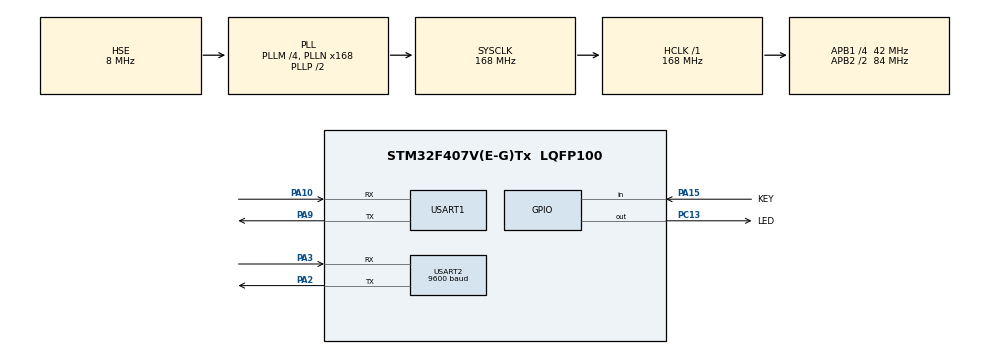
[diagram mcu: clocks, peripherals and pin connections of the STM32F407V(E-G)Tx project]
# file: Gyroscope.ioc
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Mcu.Family=STM32F4
Mcu.Name=STM32F407V(E-G)Tx
Mcu.Package=LQFP100
NVIC.PriorityGroup=NVIC_PRIORITYGROUP_4
NVIC.USART2_IRQn=true\:0\:0\:false\:false\:true\:true\:true
PA10.Mode=Asynchronous
PA10.Signal=USART1_RX
PA13.Mode=Serial_Wire
PA13.Signal=SYS_JTMS-SWDIO
PA14.Mode=Serial_Wire
PA14.Signal=SYS_JTCK-SWCLK
PA15.GPIO_Label=KEY
PA15.Signal=GPIO_Input
PA2.Mode=Asynchronous
PA2.Signal=USART2_TX
PA3.Mode=Asynchronous
PA3.Signal=USART2_RX
PA9.Mode=Asynchronous
PA9.Signal=USART1_TX
PC13-ANTI_TAMP.GPIO_Label=LED
PC13-ANTI_TAMP.Signal=GPIO_Output
PH0-OSC_IN.Mode=HSE-External-Oscillator
PH0-OSC_IN.Signal=RCC_OSC_IN
PH1-OSC_OUT.Mode=HSE-External-Oscillator
PH1-OSC_OUT.Signal=RCC_OSC_OUT
ProjectManager.HeapSize=0x200
ProjectManager.StackSize=0x400
ProjectManager.TargetToolchain=MDK-ARM V5.27
RCC.48MHZClocksFreq_Value=84000000
RCC.AHBFreq_Value=168000000
RCC.APB1CLKDivider=RCC_HCLK_DIV4
RCC.APB1Freq_Value=42000000
RCC.APB1TimFreq_Value=84000000
RCC.APB2CLKDivider=RCC_HCLK_DIV2
RCC.APB2Freq_Value=84000000
RCC.APB2TimFreq_Value=168000000
RCC.CortexFreq_Value=168000000
RCC.HCLKFreq_Value=168000000
RCC.HSE_VALUE=8000000
RCC.HSI_VALUE=16000000
RCC.LSE_VALUE=32768
RCC.PLLM=4
RCC.PLLN=168
RCC.PLLSourceVirtual=RCC_PLLSOURCE_HSE
RCC.SYSCLKFreq_VALUE=168000000
RCC.SYSCLKSource=RCC_SYSCLKSOURCE_PLLCLK
RCC.VCOOutputFreq_Value=336000000
USART1.VirtualMode=VM_ASYNC
USART2.BaudRate=9600
USART2.VirtualMode=VM_ASYNC
board=custom

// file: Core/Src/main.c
/* USER CODE BEGIN Header */
/**
  ******************************************************************************
  * @file           : main.c
  * @brief          : Main program body
  ******************************************************************************
  * @attention
  *
  * <h2><center>&copy; Copyright (c) 2020 STMicroelectronics.
  * All rights reserved.</center></h2>
  *
  * This software component is licensed by ST under BSD 3-Clause license,
  * the "License"; You may not use this file except in compliance with the
  * License. You may obtain a copy of the License at:
  *                        opensource.org/licenses/BSD-3-Clause
  *
  ******************************************************************************
  */
/* USER CODE END Header */
#include "main.h"
#include "usart.h"
#include "gpio.h"

/* USER CODE BEGIN Includes */
#include "led.h"
#include "printf.h"
#include "JY901.h"
/* USER CODE END Includes */

/* USER CODE BEGIN PV */

char ACCCALSW[5] = {0XFF,0XAA,0X01,0X01,0X00};//进入加速度校准模式
char SAVACALSW[5]= {0XFF,0XAA,0X00,0X00,0X00};//保存当前配置

extern struct STime		stcTime;
extern struct SAcc 		stcAcc;
extern struct SGyro 		stcGyro;
extern struct SAngle 	stcAngle;
extern struct SMag 		stcMag;
extern struct SDStatus stcDStatus;
extern struct SPress 	stcPress;
extern struct SLonLat 	stcLonLat;
extern struct SGPSV 		stcGPSV;
extern struct SQ       stcQ;
static unsigned char TxBuffer_T;
/* USER CODE END PV */

void SystemClock_Config(void);

int main(void)
{
  /* USER CODE BEGIN 1 */
	int i=0;
  /* USER CODE END 1 */

  /* MCU Configuration--------------------------------------------------------*/

  /* Reset of all peripherals, Initializes the Flash interface and the Systick. */
  HAL_Init();

  /* Configure the system clock */
  SystemClock_Config();

  /* Initialize all configured peripherals */
  MX_GPIO_Init();
  MX_USART1_UART_Init();
  MX_USART2_UART_Init();
  /* USER CODE BEGIN 2 */
	HAL_UART_Receive_IT(&huart2,&TxBuffer_T,1);
  /* USER CODE END 2 */

  /* Infinite loop */
  /* USER CODE BEGIN WHILE */
  while (1)
  {
		HAL_Delay(1000);
//		Led_Flash(5);
		i++;
		if(i>20)
		{
			i = 0;
			printf("正在进行加速度校准\r\n");
			sendcmd(ACCCALSW);HAL_Delay(100);//等待模块内部自动校准好，模块内部会自动计算需要一定的时间
			sendcmd(SAVACALSW);HAL_Delay(100);//保存当前配置
			printf("加速度校准完成\r\n");
		}
		//输出加速度
		//串口接受到的数据已经拷贝到对应的结构体的变量中了，根据说明书的协议，以加速度为例 stcAcc.a[0]/32768*16就是X轴的加速度，
		printf("Acc:%.3f %.3f %.3f\r\n",(float)stcAcc.a[0]/32768*16,(float)stcAcc.a[1]/32768*16,(float)stcAcc.a[2]/32768*16);
			HAL_Delay(10);
		//输出角速度
		printf("Gyro:%.3f %.3f %.3f\r\n",(float)stcGyro.w[0]/32768*2000,(float)stcGyro.w[1]/32768*2000,(float)stcGyro.w[2]/32768*2000);
			HAL_Delay(10);
		//输出角度
		printf("Angle:%.3f %.3f %.3f\r\n",(float)stcAngle.Angle[0]/32768*180,(float)stcAngle.Angle[1]/32768*180,(float)stcAngle.Angle[2]/32768*180);
			HAL_Delay(10);
		printf("\r\n\r\n");
    /* USER CODE END WHILE */

  }
}

void SystemClock_Config(void)
{
  RCC_OscInitTypeDef RCC_OscInitStruct = {0};
  RCC_ClkInitTypeDef RCC_ClkInitStruct = {0};

  /** Configure the main internal regulator output voltage
  */
  __HAL_RCC_PWR_CLK_ENABLE();
  __HAL_PWR_VOLTAGESCALING_CONFIG(PWR_REGULATOR_VOLTAGE_SCALE1);
  /** Initializes the RCC Oscillators according to the specified parameters
  * in the RCC_OscInitTypeDef structure.
  */
  RCC_OscInitStruct.OscillatorType = RCC_OSCILLATORTYPE_HSE;
  RCC_OscInitStruct.HSEState = RCC_HSE_ON;
  RCC_OscInitStruct.PLL.PLLState = RCC_PLL_ON;
  RCC_OscInitStruct.PLL.PLLSource = RCC_PLLSOURCE_HSE;
  RCC_OscInitStruct.PLL.PLLM = 4;
  RCC_OscInitStruct.PLL.PLLN = 168;
  RCC_OscInitStruct.PLL.PLLP = RCC_PLLP_DIV2;
  RCC_OscInitStruct.PLL.PLLQ = 4;
  if (HAL_RCC_OscConfig(&RCC_OscInitStruct) != HAL_OK)
  {
    Error_Handler();
  }
  /** Initializes the CPU, AHB and APB buses clocks
  */
  RCC_ClkInitStruct.ClockType = RCC_CLOCKTYPE_HCLK|RCC_CLOCKTYPE_SYSCLK
                              |RCC_CLOCKTYPE_PCLK1|RCC_CLOCKTYPE_PCLK2;
  RCC_ClkInitStruct.SYSCLKSource = RCC_SYSCLKSOURCE_PLLCLK;
  RCC_ClkInitStruct.AHBCLKDivider = RCC_SYSCLK_DIV1;
  RCC_ClkInitStruct.APB1CLKDivider = RCC_HCLK_DIV4;
  RCC_ClkInitStruct.APB2CLKDivider = RCC_HCLK_DIV2;

  if (HAL_RCC_ClockConfig(&RCC_ClkInitStruct, FLASH_LATENCY_5) != HAL_OK)
  {
    Error_Handler();
  }
}

/* USER CODE BEGIN 4 */
void HAL_UART_RxCpltCallback(UART_HandleTypeDef *huart)
{
//	int len = sizeof(TxBuffer)/sizeof(TxBuffer[0]);

	CopeSerial2Data(TxBuffer_T);//处理数据
	HAL_UART_Receive_IT(&huart2,&TxBuffer_T,1);
}
/* USER CODE END 4 */

void Error_Handler(void)
{
}

/************************ (C) COPYRIGHT STMicroelectronics *****END OF FILE****/
